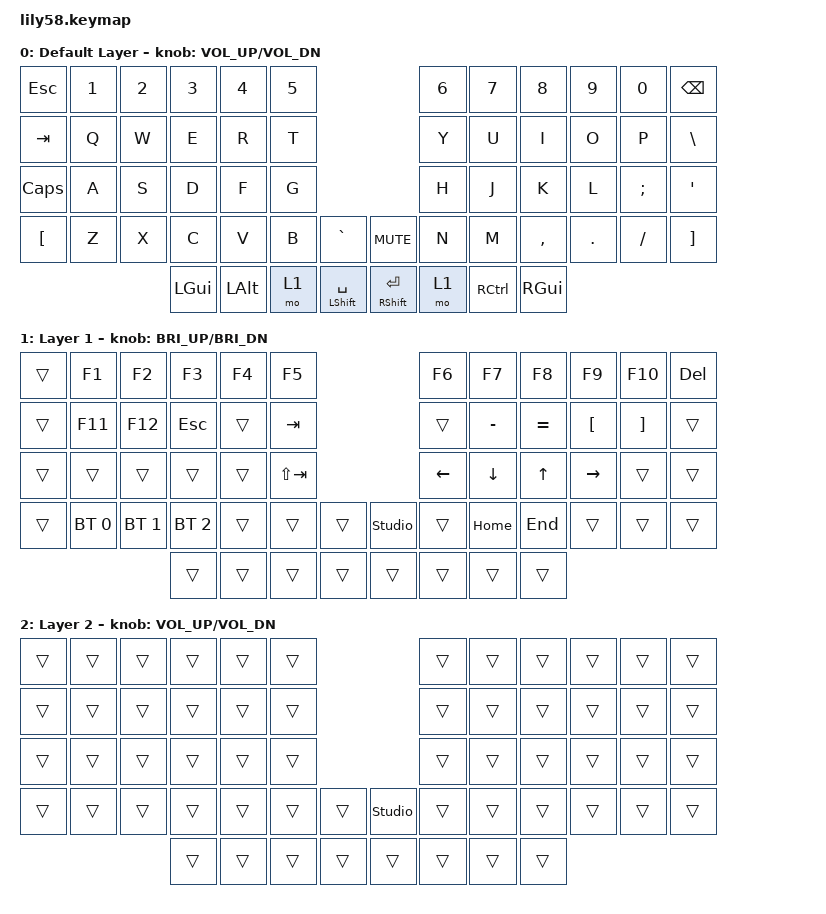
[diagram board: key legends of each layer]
/*
 * Copyright (c) 2020 The ZMK Contributors
 *
 * SPDX-License-Identifier: MIT
 */

#include <behaviors.dtsi>
#include <dt-bindings/zmk/keys.h>
#include <dt-bindings/zmk/bt.h>
#include <dt-bindings/zmk/ext_power.h>

/ {
    keymap {
        compatible = "zmk,keymap";

        default_layer {
            display-name = "Default Layer";
// ---------------------------------------------------------------------------------------------
// | ESC  | 1  | 2  | 3    | 4    | 5  |                              | 6  | 7     | 8    | 9  | 0  | BSPC |
// | TAB  | Q  | W  | E    | R    | T  |                              | Y  | U     | I    | O  | P  | \    |
// | CAPS | A  | S  | D    | F    | G  |                              | H  | J     | K    | L  | ;  | '    |
// | [    | Z  | X  | C    | V    | B  | GRAVE       |  | MUTE        | N  | M     | ,    | .  | /  | ]    |
//                  | LGUI | LALT | L1 | LSHFT SPACE |  | RSHFT ENTER | L1 | RCTRL | RGUI |
            bindings = <
&kp ESC  &kp N1 &kp N2 &kp N3   &kp N4   &kp N5                               &kp N6 &kp N7    &kp N8    &kp N9  &kp N0   &kp BSPC
&kp TAB  &kp Q  &kp W  &kp E    &kp R    &kp T                                &kp Y  &kp U     &kp I     &kp O   &kp P    &kp BSLH
&kp CAPS &kp A  &kp S  &kp D    &kp F    &kp G                                &kp H  &kp J     &kp K     &kp L   &kp SEMI &kp SQT
&kp LBKT &kp Z  &kp X  &kp C    &kp V    &kp B &kp GRAVE        &kp C_MUTE    &kp N  &kp M     &kp COMMA &kp DOT &kp FSLH &kp RBKT
                       &kp LGUI &kp LALT &mo 1 &mt LSHFT SPACE  &mt RSHFT RET &mo 1  &kp RCTRL &kp RGUI
            >;

            sensor-bindings = <&inc_dec_kp C_VOL_UP C_VOL_DN>;
        };

        layer_1 {
            display-name = "Layer 1";
// ----------------------------------------------------------------------------------------------------
// |    | F1  | F2  | F3  | F4 | F5   |                       | F6   | F7    | F8    | F9    | F10  | DEL |
// |    | F11 | F12 | ESC |    | TAB  |                       |      | MINUS | EQUAL | LBKT  | RBKT |     |
// |    |     |     |     |    | STAB |                       | LEFT | DOWN  | UP    | RIGHT |      |     |
// |    | BT1 | BT2 | BT3 |    |      |    |  | STUDIO_UNLOCK |      | HOME  | END   |       |      |     |
//                  |     |    |      |    |  |               |      |       |       |
            bindings = <
&trans &kp F1       &kp F2       &kp F3       &kp F4 &kp F5                             &kp F6   &kp F7    &kp F8    &kp F9    &kp F10  &kp DEL
&trans &kp F11      &kp F12      &kp ESC      &trans &kp TAB                            &trans   &kp MINUS &kp EQUAL &kp LBKT  &kp RBKT &trans
&trans &trans       &trans       &trans       &trans &kp LS(TAB)                        &kp LEFT &kp DOWN  &kp UP    &kp RIGHT &trans   &trans
&trans &bt BT_SEL 0 &bt BT_SEL 1 &bt BT_SEL 2 &trans &trans      &trans  &studio_unlock &trans   &kp HOME  &kp END   &trans    &trans   &trans
                                 &trans       &trans &trans      &trans  &trans         &trans   &trans   &trans
            >;

            sensor-bindings = <&inc_dec_kp C_BRI_UP C_BRI_DN>;
        };

        layer_2 {
            display-name = "Layer 2";
// ----------------------------------------------------------------------------------------------------
// |    | F1  | F2  | F3  | F4 | F5   |                       | F6   | F7    | F8    | F9    | F10  | DEL |
// |    | F11 | F12 | ESC |    | TAB  |                       |      | MINUS | EQUAL | LBKT  | RBKT |     |
// |    |     |     |     |    | STAB |                       | LEFT | DOWN  | UP    | RIGHT |      |     |
// |    | BT1 | BT2 | BT3 |    |      |    |  | STUDIO_UNLOCK |      | HOME  | END   |       |      |     |
//                  |     |    |      |    |  |               |      |       |       |
            bindings = <
&trans &trans       &trans       &trans       &trans &trans                             &trans   &trans    &trans    &trans    &trans   &trans
&trans &trans       &trans       &trans       &trans &trans                             &trans   &trans    &trans    &trans    &trans   &trans
&trans &trans       &trans       &trans       &trans &trans                             &trans   &trans    &trans    &trans    &trans   &trans
&trans &trans       &trans       &trans       &trans &trans      &trans  &studio_unlock &trans   &trans    &trans    &trans    &trans   &trans
                                 &trans       &trans &trans      &trans  &trans         &trans   &trans   &trans
            >;

            sensor-bindings = <&inc_dec_kp C_VOL_UP C_VOL_DN>;
        };
    };
};
